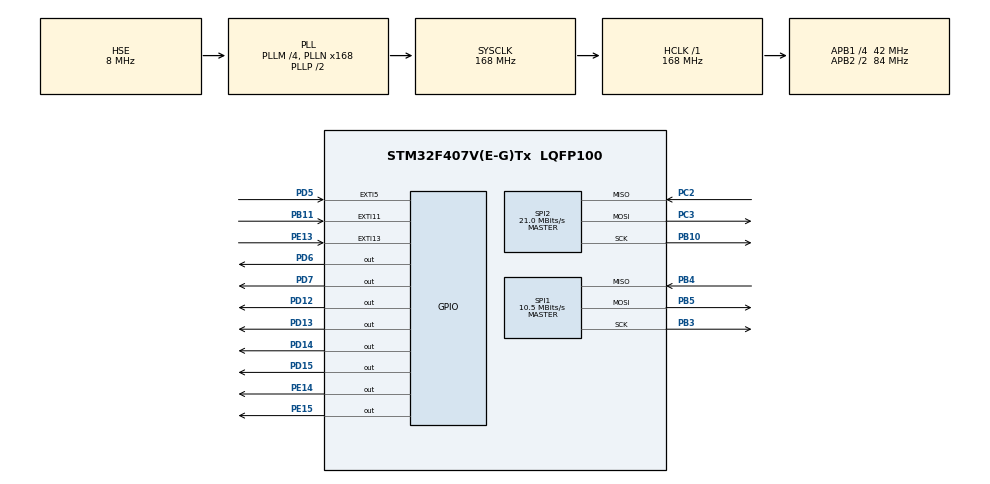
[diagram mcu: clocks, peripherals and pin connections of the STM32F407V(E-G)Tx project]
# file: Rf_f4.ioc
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Mcu.Family=STM32F4
Mcu.Name=STM32F407V(E-G)Tx
Mcu.Package=LQFP100
NVIC.EXTI15_10_IRQn=true\:0\:0\:false\:false\:true\:true\:true\:true
NVIC.EXTI9_5_IRQn=true\:0\:0\:false\:false\:true\:true\:true\:true
NVIC.PriorityGroup=NVIC_PRIORITYGROUP_4
PB10.Mode=Full_Duplex_Master
PB10.Signal=SPI2_SCK
PB11.GPIO_ModeDefaultEXTI=GPIO_MODE_IT_FALLING
PB11.Signal=GPXTI11
PB3.Mode=Full_Duplex_Master
PB3.Signal=SPI1_SCK
PB4.Mode=Full_Duplex_Master
PB4.Signal=SPI1_MISO
PB5.Mode=Full_Duplex_Master
PB5.Signal=SPI1_MOSI
PC2.Mode=Full_Duplex_Master
PC2.Signal=SPI2_MISO
PC3.Mode=Full_Duplex_Master
PC3.Signal=SPI2_MOSI
PD12.Signal=GPIO_Output
PD13.Signal=GPIO_Output
PD14.Signal=GPIO_Output
PD15.Signal=GPIO_Output
PD5.GPIO_ModeDefaultEXTI=GPIO_MODE_IT_FALLING
PD5.Signal=GPXTI5
PD6.Signal=GPIO_Output
PD7.Signal=GPIO_Output
PE13.GPIO_ModeDefaultEXTI=GPIO_MODE_IT_FALLING
PE13.Signal=GPXTI13
PE14.Signal=GPIO_Output
PE15.Signal=GPIO_Output
PH0-OSC_IN.Mode=HSE-External-Oscillator
PH0-OSC_IN.Signal=RCC_OSC_IN
PH1-OSC_OUT.Mode=HSE-External-Oscillator
PH1-OSC_OUT.Signal=RCC_OSC_OUT
ProjectManager.HeapSize=0x200
ProjectManager.StackSize=0x400
ProjectManager.TargetToolchain=STM32CubeIDE
RCC.48MHZClocksFreq_Value=84000000
RCC.AHBFreq_Value=168000000
RCC.APB1CLKDivider=RCC_HCLK_DIV4
RCC.APB1Freq_Value=42000000
RCC.APB1TimFreq_Value=84000000
RCC.APB2CLKDivider=RCC_HCLK_DIV2
RCC.APB2Freq_Value=84000000
RCC.APB2TimFreq_Value=168000000
RCC.CortexFreq_Value=168000000
RCC.HCLKFreq_Value=168000000
RCC.HSE_VALUE=8000000
RCC.HSI_VALUE=16000000
RCC.LSE_VALUE=32768
RCC.PLLM=4
RCC.PLLN=168
RCC.PLLSourceVirtual=RCC_PLLSOURCE_HSE
RCC.SYSCLKFreq_VALUE=168000000
RCC.SYSCLKSource=RCC_SYSCLKSOURCE_PLLCLK
RCC.VCOOutputFreq_Value=336000000
SPI1.BaudRatePrescaler=SPI_BAUDRATEPRESCALER_8
SPI1.CalculateBaudRate=10.5 MBits/s
SPI1.Direction=SPI_DIRECTION_2LINES
SPI1.Mode=SPI_MODE_MASTER
SPI1.VirtualType=VM_MASTER
SPI2.CalculateBaudRate=21.0 MBits/s
SPI2.Direction=SPI_DIRECTION_2LINES
SPI2.Mode=SPI_MODE_MASTER
SPI2.VirtualType=VM_MASTER
board=custom

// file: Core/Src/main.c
/* USER CODE BEGIN Header */
/**
  ******************************************************************************
  * @file           : main.c
  * @brief          : Main program body
  ******************************************************************************
  * @attention
  *
  * Copyright (c) 2024 STMicroelectronics.
  * All rights reserved.
  *
  * This software is licensed under terms that can be found in the LICENSE file
  * in the root directory of this software component.
  * If no LICENSE file comes with this software, it is provided AS-IS.
  *
  ******************************************************************************
  */
/* USER CODE END Header */
#include "main.h"
#include "spi.h"
#include "gpio.h"

/* USER CODE BEGIN Includes */
#include "nrf24l01p.h"
#include "nrf24l01.h"
/* USER CODE END Includes */

/* USER CODE BEGIN PD */

#define TRANSMITTER
//#define RECEIVER

#define RECEIVER_2
//#define TRANSMITTER_2

/* USER CODE END PD */

void SystemClock_Config(void);
/* USER CODE BEGIN PFP */
void HAL_GPIO_EXTI_Callback(uint16_t GPIO_Pin);
/* USER CODE END PFP */

/* USER CODE BEGIN 0 */
uint8_t rx_data[NRF24L01P_PAYLOAD_LENGTH] = {0};
uint8_t tx_data[NRF24L01P_PAYLOAD_LENGTH] = {0, 1, 2, 3, 4, 5, 6, 7};

#ifdef RECEIVER_2
uint8_t rx_data[32];
uint8_t RxNumber = 5;

#endif

#ifdef TRANSMITTER_2
uint8_t tx_data[32] = "Hello World\n";
#endif
/* USER CODE END 0 */

int main(void)
{

  /* MCU Configuration--------------------------------------------------------*/

  /* Reset of all peripherals, Initializes the Flash interface and the Systick. */
  HAL_Init();

  /* Configure the system clock */
  SystemClock_Config();

  /* Initialize all configured peripherals */
  MX_GPIO_Init();
  MX_SPI1_Init();
  MX_SPI2_Init();
  /* USER CODE BEGIN 2 */
	#ifdef RECEIVER
		nrf24l01p_rx_init(2500, _1Mbps);
	#endif

	#ifdef TRANSMITTER
		nrf24l01p_tx_init(2500, _1Mbps);
    #endif

	#ifdef RECEIVER_2
		uint8_t RxAddress0[5] = {0x78, 0x78, 0x78, 0x78, 0x78};
		uint8_t RxAddress1[5] = {0xB3, 0xB4, 0xB5, 0xB6, 0xCD};
		uint8_t RxAddress2 = 0xF3;
		uint8_t RxAddress3 = 0xF2;
		uint8_t RxAddress4 = 0xF4;
		uint8_t RxAddress5 = 0xF1;

		NRF24L01_RxInit(50, NRF24L01_DATA_RATE_1MBPS, 2000);
		NRF24L01_SetRxAddress(NRF24L01_RX_ADDRESS_P0, RxAddress0, 2000);
		NRF24L01_SetRxAddress(NRF24L01_RX_ADDRESS_P1, RxAddress1, 2000);
		NRF24L01_SetRxAddress(NRF24L01_RX_ADDRESS_P2, &RxAddress2, 2000);
		NRF24L01_SetRxAddress(NRF24L01_RX_ADDRESS_P3, &RxAddress3, 2000);
		NRF24L01_SetRxAddress(NRF24L01_RX_ADDRESS_P4, &RxAddress4, 2000);
		NRF24L01_SetRxAddress(NRF24L01_RX_ADDRESS_P5, &RxAddress5, 2000);

	#endif
	#ifdef TRANSMITTER_2
		uint8_t TxAddress1[5] = {0xB3, 0xB4, 0xB5, 0xB6, 0xCD};

		NRF24L01_TxInit(50, NRF24L01_DATA_RATE_1MBPS, 2000);

		NRF24L01_SetTxAddress(TxAddress1, 2000);
	#endif
  /* USER CODE END 2 */

  /* Infinite loop */
  /* USER CODE BEGIN WHILE */
  while (1)
  {
		#ifdef RECEIVER
		  // Nothing to do
	  	  HAL_GPIO_TogglePin(GPIOD, GPIO_PIN_12);
		#endif
		#ifdef TRANSMITTER

		  for(int i= 0; i < 8; i++)
		  {
			  tx_data[i]++;
		  }
		  nrf24l01p_tx_transmit(tx_data);
		  HAL_GPIO_TogglePin(GPIOD, GPIO_PIN_12);
		#endif
///////////////////////////////////////////////////////
		#ifdef RECEIVER_2

		#endif
		#ifdef TRANSMITTER_2
				NRF24L01_TxTransmit(tx_data, 2000);
		#endif
		HAL_Delay(100);
    /* USER CODE END WHILE */

  }
}

void SystemClock_Config(void)
{
  RCC_OscInitTypeDef RCC_OscInitStruct = {0};
  RCC_ClkInitTypeDef RCC_ClkInitStruct = {0};

  /** Configure the main internal regulator output voltage
  */
  __HAL_RCC_PWR_CLK_ENABLE();
  __HAL_PWR_VOLTAGESCALING_CONFIG(PWR_REGULATOR_VOLTAGE_SCALE1);

  /** Initializes the RCC Oscillators according to the specified parameters
  * in the RCC_OscInitTypeDef structure.
  */
  RCC_OscInitStruct.OscillatorType = RCC_OSCILLATORTYPE_HSE;
  RCC_OscInitStruct.HSEState = RCC_HSE_ON;
  RCC_OscInitStruct.PLL.PLLState = RCC_PLL_ON;
  RCC_OscInitStruct.PLL.PLLSource = RCC_PLLSOURCE_HSE;
  RCC_OscInitStruct.PLL.PLLM = 4;
  RCC_OscInitStruct.PLL.PLLN = 168;
  RCC_OscInitStruct.PLL.PLLP = RCC_PLLP_DIV2;
  RCC_OscInitStruct.PLL.PLLQ = 4;
  if (HAL_RCC_OscConfig(&RCC_OscInitStruct) != HAL_OK)
  {
    Error_Handler();
  }

  /** Initializes the CPU, AHB and APB buses clocks
  */
  RCC_ClkInitStruct.ClockType = RCC_CLOCKTYPE_HCLK|RCC_CLOCKTYPE_SYSCLK
                              |RCC_CLOCKTYPE_PCLK1|RCC_CLOCKTYPE_PCLK2;
  RCC_ClkInitStruct.SYSCLKSource = RCC_SYSCLKSOURCE_PLLCLK;
  RCC_ClkInitStruct.AHBCLKDivider = RCC_SYSCLK_DIV1;
  RCC_ClkInitStruct.APB1CLKDivider = RCC_HCLK_DIV4;
  RCC_ClkInitStruct.APB2CLKDivider = RCC_HCLK_DIV2;

  if (HAL_RCC_ClockConfig(&RCC_ClkInitStruct, FLASH_LATENCY_5) != HAL_OK)
  {
    Error_Handler();
  }
}

/* USER CODE BEGIN 4 */
void HAL_GPIO_EXTI_Callback(uint16_t GPIO_Pin)
{
	if(GPIO_Pin == NRF24L01P_IRQ_PIN_NUMBER)
	{
		#ifdef RECEIVER
				nrf24l01p_rx_receive(rx_data);
				HAL_GPIO_TogglePin(GPIOD, GPIO_PIN_13);
		#endif

		#ifdef TRANSMITTER
				nrf24l01p_tx_irq();
				HAL_GPIO_TogglePin(GPIOD, GPIO_PIN_13);
		#endif
	}
	#ifdef RECEIVER_2
		if(GPIO_Pin == NRF24L01_IRQ_GPIO_PIN)
		{
			NRF24L01_RxReceive(rx_data, &RxNumber, 4000);
			HAL_GPIO_TogglePin(GPIOD, GPIO_PIN_14);
		}
	#endif
	#ifdef TRANSMITTER_2
		if(GPIO_Pin == NRF24L01_IRQ_GPIO_PIN)
		{
			NRF24L01_TxIRQHandle(2000);
		}
		HAL_GPIO_TogglePin(GPIOC, GPIO_PIN_14);
	#endif
}
/* USER CODE END 4 */

void Error_Handler(void)
{
  __disable_irq();
  while (1)
  {
  }
}
